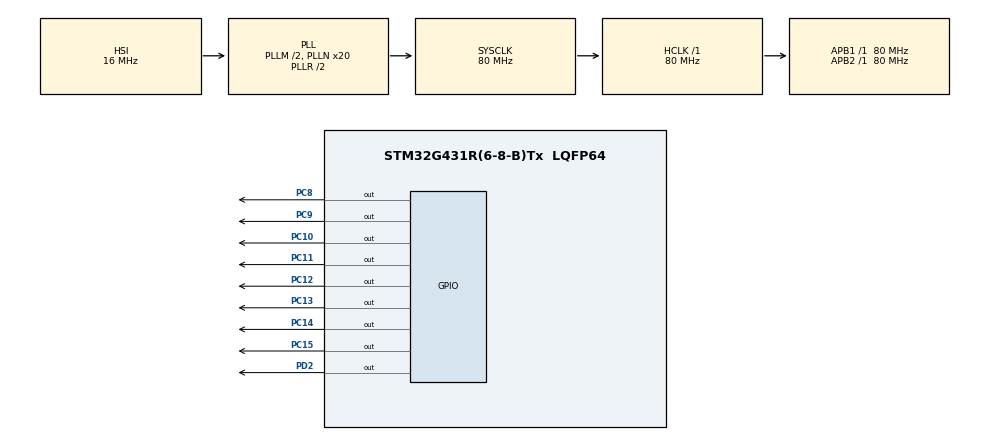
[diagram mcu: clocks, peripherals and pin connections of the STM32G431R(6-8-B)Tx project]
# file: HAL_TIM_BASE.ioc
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Mcu.Family=STM32G4
Mcu.Name=STM32G431R(6-8-B)Tx
Mcu.Package=LQFP64
NVIC.PriorityGroup=NVIC_PRIORITYGROUP_4
NVIC.TIM1_UP_TIM16_IRQn=true\:0\:0\:false\:false\:true\:true\:true
PC10.Signal=GPIO_Output
PC11.Signal=GPIO_Output
PC12.Signal=GPIO_Output
PC13.Signal=GPIO_Output
PC14-OSC32_IN.Signal=GPIO_Output
PC15-OSC32_OUT.Signal=GPIO_Output
PC8.Signal=GPIO_Output
PC9.Signal=GPIO_Output
PD2.Signal=GPIO_Output
PF0-OSC_IN.Mode=HSE-External-Oscillator
PF0-OSC_IN.Signal=RCC_OSC_IN
PF1-OSC_OUT.Mode=HSE-External-Oscillator
PF1-OSC_OUT.Signal=RCC_OSC_OUT
ProjectManager.HeapSize=0x200
ProjectManager.StackSize=0x400
ProjectManager.TargetToolchain=MDK-ARM V5.27
RCC.ADC12Freq_Value=80000000
RCC.AHBFreq_Value=80000000
RCC.APB1Freq_Value=80000000
RCC.APB1TimFreq_Value=80000000
RCC.APB2Freq_Value=80000000
RCC.APB2TimFreq_Value=80000000
RCC.CortexFreq_Value=80000000
RCC.EXTERNAL_CLOCK_VALUE=12288000
RCC.HCLKFreq_Value=80000000
RCC.HSE_VALUE=24000000
RCC.HSI48_VALUE=48000000
RCC.HSI_VALUE=16000000
RCC.LSE_VALUE=32768
RCC.PLLM=RCC_PLLM_DIV2
RCC.PLLN=20
RCC.SYSCLKFreq_VALUE=80000000
RCC.SYSCLKSource=RCC_SYSCLKSOURCE_PLLCLK
RCC.USBFreq_Value=80000000
RCC.VCOOutputFreq_Value=160000000
VP_SYS_VS_DBSignals.Mode=DisableDeadBatterySignals
VP_TIM1_VS_ClockSourceINT.Mode=Internal
board=custom

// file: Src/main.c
/* USER CODE BEGIN Header */
/**
  ******************************************************************************
  * @file           : main.c
  * @brief          : Main program body
  ******************************************************************************
  * @attention
  *
  * <h2><center>&copy; Copyright (c) 2021 STMicroelectronics.
  * All rights reserved.</center></h2>
  *
  * This software component is licensed by ST under BSD 3-Clause license,
  * the "License"; You may not use this file except in compliance with the
  * License. You may obtain a copy of the License at:
  *                        opensource.org/licenses/BSD-3-Clause
  *
  ******************************************************************************
  */
/* USER CODE END Header */

#include "main.h"

TIM_HandleTypeDef htim1;

void SystemClock_Config(void);
static void MX_GPIO_Init(void);
static void MX_TIM1_Init(void);

/* USER CODE BEGIN 0 */
void HAL_TIM_PeriodElapsedCallback(TIM_HandleTypeDef *htim)
{
	static uint16_t counter = 0;
	static uint16_t led = 0x0001, i = 0, dir = 0;

	if(++counter == 100){
		counter = 0;
		GPIOC->ODR = ~(led << (8 + i));
		GPIOD->BSRR |= GPIO_PIN_2;
		__nop();__nop();__nop();
		GPIOD->BRR |= GPIO_PIN_2;

		if(dir == 0){
			if(++i == 7){
				dir = 1;

			}
		}else{
			if(--i == 0){
				dir = 0;
			}
		}
	}
	HAL_TIM_Base_Start_IT(&htim1);
}
/* USER CODE END 0 */

int main(void)
{

  /* MCU Configuration--------------------------------------------------------*/

  /* Reset of all peripherals, Initializes the Flash interface and the Systick. */
  HAL_Init();

  /* Configure the system clock */
  SystemClock_Config();

  /* Initialize all configured peripherals */
  MX_GPIO_Init();
  MX_TIM1_Init();
  /* USER CODE BEGIN 2 */
	GPIOC->ODR = 0xFFFF;
	GPIOD->BSRR |= GPIO_PIN_2;
	__nop();__nop();__nop();
	GPIOD->BRR |= GPIO_PIN_2;

	HAL_TIM_Base_Start_IT(&htim1);
  /* USER CODE END 2 */
	LCD_Init();

	LCD_Clear(Blue);
	LCD_SetBackColor(Blue);
	LCD_SetTextColor(White);

	LCD_DisplayStringLine(Line0, (uint8_t *)"                    ");
	LCD_DisplayStringLine(Line1, (uint8_t *)"                    ");
	LCD_DisplayStringLine(Line2, (uint8_t *)"      TIM Test      ");
	LCD_DisplayStringLine(Line3, (uint8_t *)"                    ");
	LCD_DisplayStringLine(Line4, (uint8_t *)"                    ");

	LCD_SetBackColor(White);
	LCD_SetTextColor(Blue);

	LCD_DisplayStringLine(Line5, (uint8_t *)"                    ");
	LCD_DisplayStringLine(Line6, (uint8_t *)"     TIM1:100ms     ");
	LCD_DisplayStringLine(Line7, (uint8_t *)"                    ");
	LCD_DisplayStringLine(Line8, (uint8_t *)"                    ");
	LCD_DisplayStringLine(Line9, (uint8_t *)"                    ");

  /* Infinite loop */
  while (1)
  {

  }
}

void SystemClock_Config(void)
{
  RCC_OscInitTypeDef RCC_OscInitStruct = {0};
  RCC_ClkInitTypeDef RCC_ClkInitStruct = {0};

  /** Configure the main internal regulator output voltage
  */
  HAL_PWREx_ControlVoltageScaling(PWR_REGULATOR_VOLTAGE_SCALE1);
  /** Initializes the CPU, AHB and APB busses clocks
  */
  RCC_OscInitStruct.OscillatorType = RCC_OSCILLATORTYPE_HSI;
  RCC_OscInitStruct.HSIState = RCC_HSI_ON;
  RCC_OscInitStruct.HSICalibrationValue = RCC_HSICALIBRATION_DEFAULT;
  RCC_OscInitStruct.PLL.PLLState = RCC_PLL_ON;
  RCC_OscInitStruct.PLL.PLLSource = RCC_PLLSOURCE_HSI;
  RCC_OscInitStruct.PLL.PLLM = RCC_PLLM_DIV2;
  RCC_OscInitStruct.PLL.PLLN = 20;
  RCC_OscInitStruct.PLL.PLLP = RCC_PLLP_DIV2;
  RCC_OscInitStruct.PLL.PLLQ = RCC_PLLQ_DIV2;
  RCC_OscInitStruct.PLL.PLLR = RCC_PLLR_DIV2;
  if (HAL_RCC_OscConfig(&RCC_OscInitStruct) != HAL_OK)
  {
    Error_Handler();
  }
  /** Initializes the CPU, AHB and APB busses clocks
  */
  RCC_ClkInitStruct.ClockType = RCC_CLOCKTYPE_HCLK|RCC_CLOCKTYPE_SYSCLK
                              |RCC_CLOCKTYPE_PCLK1|RCC_CLOCKTYPE_PCLK2;
  RCC_ClkInitStruct.SYSCLKSource = RCC_SYSCLKSOURCE_PLLCLK;
  RCC_ClkInitStruct.AHBCLKDivider = RCC_SYSCLK_DIV1;
  RCC_ClkInitStruct.APB1CLKDivider = RCC_HCLK_DIV1;
  RCC_ClkInitStruct.APB2CLKDivider = RCC_HCLK_DIV1;

  if (HAL_RCC_ClockConfig(&RCC_ClkInitStruct, FLASH_LATENCY_3) != HAL_OK)
  {
    Error_Handler();
  }
}

static void MX_TIM1_Init(void)
{

  TIM_ClockConfigTypeDef sClockSourceConfig = {0};

  htim1.Instance = TIM1;
  htim1.Init.Prescaler = 1000;
  htim1.Init.CounterMode = TIM_COUNTERMODE_UP;
  htim1.Init.Period = 79;
  htim1.Init.ClockDivision = TIM_CLOCKDIVISION_DIV1;
  htim1.Init.RepetitionCounter = 0;
  htim1.Init.AutoReloadPreload = TIM_AUTORELOAD_PRELOAD_ENABLE;
  if (HAL_TIM_Base_Init(&htim1) != HAL_OK)
  {
    Error_Handler();
  }
  sClockSourceConfig.ClockSource = TIM_CLOCKSOURCE_INTERNAL;
  if (HAL_TIM_ConfigClockSource(&htim1, &sClockSourceConfig) != HAL_OK)
  {
    Error_Handler();
  }

}

static void MX_GPIO_Init(void)
{
  GPIO_InitTypeDef GPIO_InitStruct = {0};

  /* GPIO Ports Clock Enable */
  __HAL_RCC_GPIOC_CLK_ENABLE();
  __HAL_RCC_GPIOF_CLK_ENABLE();
  __HAL_RCC_GPIOD_CLK_ENABLE();

  /*Configure GPIO pin Output Level */
  HAL_GPIO_WritePin(GPIOC, GPIO_PIN_13|GPIO_PIN_14|GPIO_PIN_15|GPIO_PIN_8
                          |GPIO_PIN_9|GPIO_PIN_10|GPIO_PIN_11|GPIO_PIN_12, GPIO_PIN_RESET);

  /*Configure GPIO pin Output Level */
  HAL_GPIO_WritePin(GPIOD, GPIO_PIN_2, GPIO_PIN_RESET);

  /*Configure GPIO pins : PC13 PC14 PC15 PC8
                           PC9 PC10 PC11 PC12 */
  GPIO_InitStruct.Pin = GPIO_PIN_13|GPIO_PIN_14|GPIO_PIN_15|GPIO_PIN_8
                          |GPIO_PIN_9|GPIO_PIN_10|GPIO_PIN_11|GPIO_PIN_12;
  GPIO_InitStruct.Mode = GPIO_MODE_OUTPUT_PP;
  GPIO_InitStruct.Pull = GPIO_NOPULL;
  GPIO_InitStruct.Speed = GPIO_SPEED_FREQ_LOW;
  HAL_GPIO_Init(GPIOC, &GPIO_InitStruct);

  /*Configure GPIO pin : PD2 */
  GPIO_InitStruct.Pin = GPIO_PIN_2;
  GPIO_InitStruct.Mode = GPIO_MODE_OUTPUT_PP;
  GPIO_InitStruct.Pull = GPIO_NOPULL;
  GPIO_InitStruct.Speed = GPIO_SPEED_FREQ_LOW;
  HAL_GPIO_Init(GPIOD, &GPIO_InitStruct);

}

void Error_Handler(void)
{
}

/************************ (C) COPYRIGHT STMicroelectronics *****END OF FILE****/
